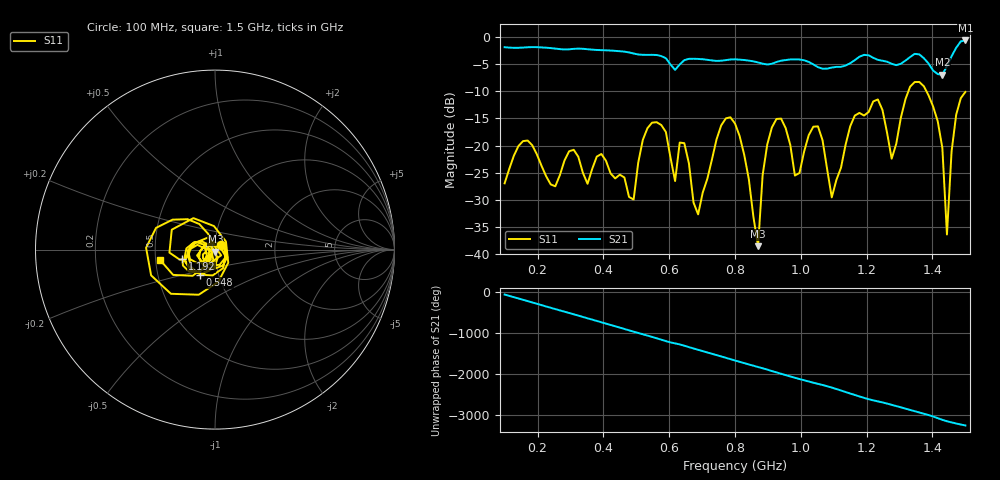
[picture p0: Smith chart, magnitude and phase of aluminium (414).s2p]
! NanoVNA-App
! Date: 2025-09-25 14:58:30
! Start: 100MHz Stop: 1,5GHz Points: 101
! S-Parameter data: F S11 S21 S12 S22
# Hz S RI R 50
!  Frequency  S11_Real  S11_Imag  S21_Real  S21_Imag  S12_Real  S12_Imag  S22_Real  S22_Imag
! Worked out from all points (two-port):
!   101 points, 100 MHz to 1.5 GHz, reference 50 ohm
!   highest |S21| = -0.67 dB at 1.5 GHz (marker M1); lowest = -7.0 dB at 1.43 GHz (marker M2)
!   |S21| within 3 dB of the highest: start of sweep to 580.6 MHz; 1.457 GHz to end of sweep (the widest 2 of 4)
!   lowest |S11| = -38.5 dB at 870 MHz (marker M3), VSWR 1.02, Z = 50.2 - j1.16 ohm
!   |S11| at or under -10 dB: start of sweep to 1.327 GHz; 1.381 GHz to end of sweep
!   S12 and S22 are empty: the file has one direction only
!   S11 on the Smith chart (normalised r, x): 100 MHz: 1.07, +0.06; 548 MHz: 0.82, -0.24; 1.192 GHz: 0.69, -0.08; 1.5 GHz: 0.53, -0.07
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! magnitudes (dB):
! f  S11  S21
! 100 MHz  -27.0  -1.9
! 156 MHz  -19.2  -2.0
! 338 MHz  -25.0  -2.2
! 492 MHz  -29.9  -3.1
! 548 MHz  -15.8  -3.3
! 576 MHz  -16.2  -3.5
! 618 MHz  -26.5  -6.1
! 646 MHz  -19.6  -4.3
! 688 MHz  -32.7  -4.1
! 800 MHz  -16.0  -4.1
! 870 MHz  -38.5  -4.7
! 912 MHz  -16.7  -5.0
! 982 MHz  -25.5  -4.2
! 1.038 GHz  -16.5  -5.1
! 1.094 GHz  -29.5  -5.7
! 1.192 GHz  -14.5  -3.3
! 1.276 GHz  -22.4  -5.0
! 1.346 GHz  -8.3  -3.1
! 1.43 GHz  -20.4  -7.0
! 1.444 GHz  -36.4  -5.4
! 1.472 GHz  -14.3  -2.0
! 1.5 GHz  -10.1  -0.7
